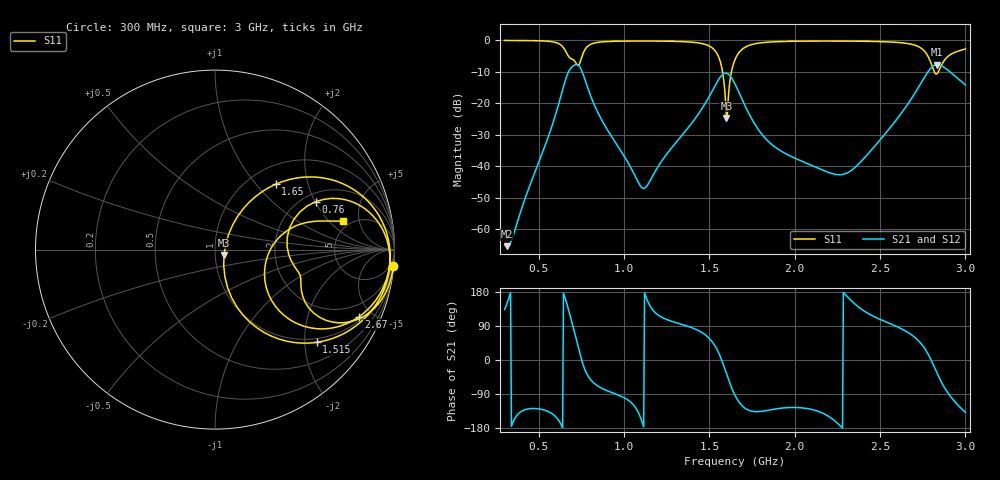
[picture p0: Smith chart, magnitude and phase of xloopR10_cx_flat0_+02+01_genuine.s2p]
! xloopR10_cx_flat0_+02+01_genuine, gap C 0.80 pF
! simulated by sim/fixtures_fdtd.py (S12 = S21, S22 not computed)
# HZ S RI R 50
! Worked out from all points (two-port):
!   541 points, 300 MHz to 3 GHz, reference 50 ohm
!   highest |S21| = -7.67 dB at 2.835 GHz (marker M1); lowest = -65.5 dB at 315 MHz (marker M2)
!   |S21| within 3 dB of the highest: 669.1 MHz to 759.5 MHz (90.42 MHz wide, 12.7 % of centre); 2.773 GHz to 2.924 GHz (151.8 MHz wide, 5.33 % of centre) (the widest 2 of 3)
!   lowest |S11| = -24.6 dB at 1.6 GHz (marker M3), VSWR 1.12, Z = 55.2 - j3.35 ohm
!   |S11| at or under -10 dB: 1.577 GHz to 1.629 GHz (52.18 MHz wide, 3.25 % of centre); 2.818 GHz to 2.841 GHz (23.39 MHz wide, 0.826 % of centre)
!   |S22| runs from - to - dB; largest |S21 - S12| = 0
!   S11 on the Smith chart (normalised r, x): 300 MHz: 0, -21; 760 MHz: 2.33, +2.02; 1.515 GHz: 0.91, -2.27; 1.65 GHz: 1.32, +1.27; 2.67 GHz: 1.21, -4.14; 3 GHz: 4.35, +2.96
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3e8  0.994 -0.0934  -0.000378 0.000405  -0.000378 0.000405  0 0
3.15e8  0.9932 -0.0994  -0.000463 0.000265  -0.000463 0.000265  0 0
5.55e8  0.9301 -0.2748  -0.0207 -0.02  -0.0207 -0.02  0 0
6.4e8  0.6828 -0.4074  -0.1648 -0.00447  -0.1648 -0.00447  0 0
7.05e8  0.4676 -0.1298  0.0576 0.3946  0.0576 0.3946  0 0
7.5e8  0.474 0.2109  0.34 0.0142  0.34 0.0142  0 0
7.6e8  0.561 0.2669  0.2834 -0.0636  0.2834 -0.0636  0 0
8.45e8  0.9192 0.1373  0.0269 -0.0675  0.0269 -0.0675  0 0
1.1e9  0.9731 -0.0969  -0.0043 -0.00188  -0.0043 -0.00188  0 0
1.2e9  0.9623 -0.1595  -0.00473 0.00873  -0.00473 0.00873  0 0
1.515e9  0.5661 -0.5166  0.1012 0.116  0.1012 0.116  0 0
1.565e9  0.1932 -0.403  0.2616 0.0355  0.2616 0.0355  0 0
1.6e9  0.0502 -0.0302  0.2432 -0.1784  0.2432 -0.1784  0 0
1.65e9  0.3371 0.3638  -0.0118 -0.2023  -0.0118 -0.2023  0 0
1.83e9  0.9116 0.1925  -0.0189 -0.0197  -0.0189 -0.0197  0 0
2.1e9  0.9752 -0.0173  -0.00667 -0.00779  -0.00667 -0.00779  0 0
2.305e9  0.9678 -0.1175  -0.00761 0.00151  -0.00761 0.00151  0 0
2.55e9  0.9099 -0.2614  -0.0051 0.0378  -0.0051 0.0378  0 0
2.67e9  0.7997 -0.3758  0.0341 0.0984  0.0341 0.0984  0 0
2.77e9  0.4662 -0.4162  0.26 0.1187  0.26 0.1187  0 0
2.835e9  0.2962 -0.0265  0.3362 -0.2411  0.3362 -0.2411  0 0
3e9  0.7137 0.1585  -0.1457 -0.1311  -0.1457 -0.1311  0 0
